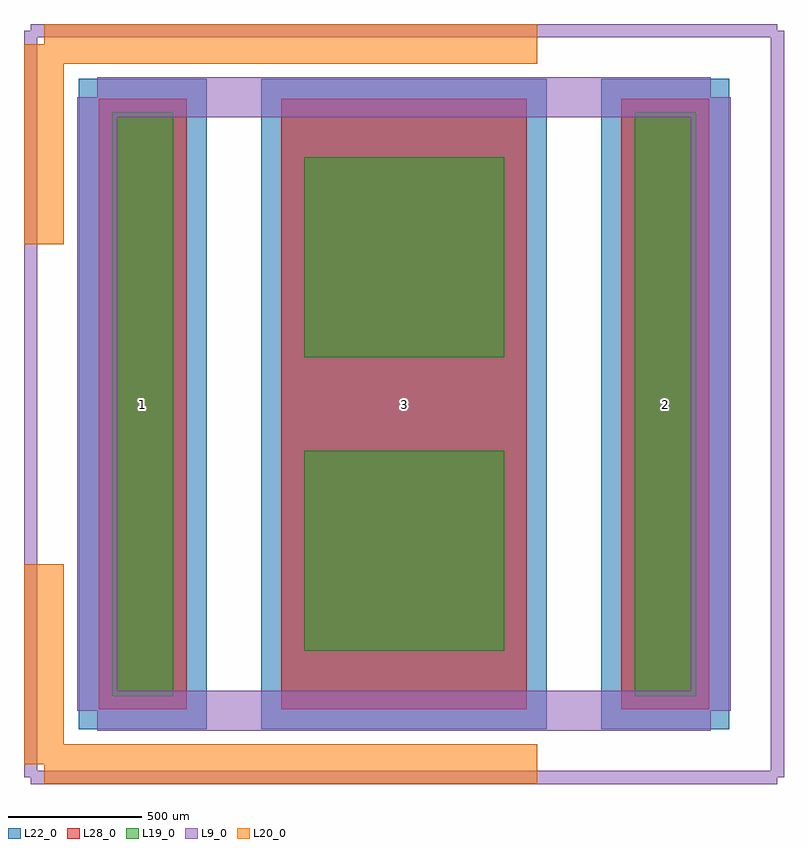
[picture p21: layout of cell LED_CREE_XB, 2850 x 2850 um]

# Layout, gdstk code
import gdstk
lib = gdstk.Library(unit=1e-6, precision=1e-09)
def R(c, l, rs):  # rectangles x0, y0, x1, y1
    for r in rs: c.add(gdstk.rectangle(r[:2], r[2:], *l))
L9_0 = (9, 0)
L19_0 = (19, 0)
L20_0 = (20, 0)
L22_0 = (22, 0)
L28_0 = (28, 0)

led_cree_xb = lib.new_cell('LED_CREE_XB')
R(led_cree_xb, L19_0, [(-1095,-1095,-865,1095), (865,-1095,1095,1095), (-375,-925,375,-175), (-375,175,375,925)])
R(led_cree_xb, L22_0, [(-1220,-1220,-740,1220), (-535,-1220,535,1220), (740,-1220,1220,1220), (-500,-1050,500,-50), (-500,50,500,1050)])
R(led_cree_xb, L28_0, [(-1145,-1145,-815,1145), (-460,-1145,460,1145), (815,-1145,1145,1145), (-425,-975,425,-125), (-425,125,425,975)])
led_cree_xb.add(gdstk.FlexPath([(-1150,1150),(1150,1150)], 149.998, ends="flush", simple_path=True, layer=9, datatype=0))  # L9_0
led_cree_xb.add(gdstk.FlexPath([(1150,1150),(1150,-1150)], 149.998, ends="flush", simple_path=True, layer=9, datatype=0))  # L9_0
led_cree_xb.add(gdstk.FlexPath([(1150,-1150),(-1150,-1150)], 149.998, ends="flush", simple_path=True, layer=9, datatype=0))  # L9_0
led_cree_xb.add(gdstk.FlexPath([(-1150,-1150),(-1150,1150)], 149.998, ends="flush", simple_path=True, layer=9, datatype=0))  # L9_0
led_cree_xb.add(gdstk.FlexPath([(500,1350),(-1350,1350)], 149.998, ends="flush", simple_path=True, layer=20, datatype=0))  # L20_0
led_cree_xb.add(gdstk.FlexPath([(-1350,1350),(-1350,600)], 149.998, ends="flush", simple_path=True, layer=20, datatype=0))  # L20_0
led_cree_xb.add(gdstk.FlexPath([(500,-1350),(-1350,-1350)], 149.998, ends="flush", simple_path=True, layer=20, datatype=0))  # L20_0
led_cree_xb.add(gdstk.FlexPath([(-1350,-1350),(-1350,-600)], 149.998, ends="flush", simple_path=True, layer=20, datatype=0))  # L20_0
led_cree_xb.add(gdstk.FlexPath([(-1400,-1400),(-1400,1400)], 50, ends="flush", simple_path=True, layer=9, datatype=0))  # L9_0
led_cree_xb.add(gdstk.FlexPath([(-1400,1400),(1400,1400)], 50, ends="flush", simple_path=True, layer=9, datatype=0))  # L9_0
led_cree_xb.add(gdstk.FlexPath([(1400,1400),(1400,-1400)], 50, ends="flush", simple_path=True, layer=9, datatype=0))  # L9_0
led_cree_xb.add(gdstk.FlexPath([(1400,-1400),(-1400,-1400)], 50, ends="flush", simple_path=True, layer=9, datatype=0))  # L9_0
led_cree_xb.add(gdstk.Label('3', (0,0), layer=28, texttype=0))
led_cree_xb.add(gdstk.Label('1', (-980,0), layer=28, texttype=0))
led_cree_xb.add(gdstk.Label('2', (980,0), layer=28, texttype=0))
led_cree_xb.add(gdstk.Label('type', (0,2250), layer=9, texttype=0))
led_cree_xb.add(gdstk.Label('devicename', (0,-2250), layer=9, texttype=0))

lib.write_gds('LED_CREE_XB.gds')
